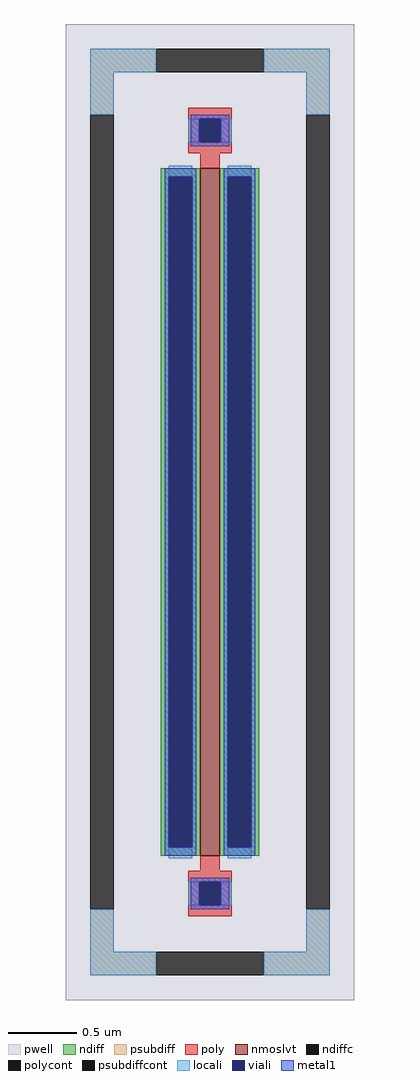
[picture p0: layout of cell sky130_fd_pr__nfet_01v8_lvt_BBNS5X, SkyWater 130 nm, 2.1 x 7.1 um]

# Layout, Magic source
magic
tech sky130A
<< pwell >>
rect -105 -355 105 355
<< nmoslvt >>
rect -7 -250 7 250
<< ndiff >>
rect -36 244 -7 250
rect -36 -244 -30 244
rect -13 -244 -7 244
rect -36 -250 -7 -244
rect 7 244 36 250
rect 7 -244 13 244
rect 30 -244 36 244
rect 7 -250 36 -244
<< ndiffc >>
rect -30 -244 -13 244
rect 13 -244 30 244
<< psubdiff >>
rect -87 320 -39 337
rect 39 320 87 337
rect -87 289 -70 320
rect 70 289 87 320
rect -87 -320 -70 -289
rect 70 -320 87 -289
rect -87 -337 -39 -320
rect 39 -337 87 -320
<< psubdiffcont >>
rect -39 320 39 337
rect -87 -289 -70 289
rect 70 -289 87 289
rect -39 -337 39 -320
<< poly >>
rect -16 286 16 294
rect -16 269 -8 286
rect 8 269 16 286
rect -16 261 16 269
rect -7 250 7 261
rect -7 -261 7 -250
rect -16 -269 16 -261
rect -16 -286 -8 -269
rect 8 -286 16 -269
rect -16 -294 16 -286
<< polycont >>
rect -8 269 8 286
rect -8 -286 8 -269
<< locali >>
rect -87 320 -39 337
rect 39 320 87 337
rect -87 289 -70 320
rect 70 289 87 320
rect -16 269 -8 286
rect 8 269 16 286
rect -30 244 -13 252
rect -30 -252 -13 -244
rect 13 244 30 252
rect 13 -252 30 -244
rect -16 -286 -8 -269
rect 8 -286 16 -269
rect -87 -320 -70 -289
rect 70 -320 87 -289
rect -87 -337 -39 -320
rect 39 -337 87 -320
<< viali >>
rect -8 269 8 286
rect -30 -244 -13 244
rect 13 -244 30 244
rect -8 -286 8 -269
<< metal1 >>
rect -14 286 14 289
rect -14 269 -8 286
rect 8 269 14 286
rect -14 266 14 269
rect -33 244 -10 250
rect -33 -244 -30 244
rect -13 -244 -10 244
rect -33 -250 -10 -244
rect 10 244 33 250
rect 10 -244 13 244
rect 30 -244 33 244
rect 10 -250 33 -244
rect -14 -269 14 -266
rect -14 -286 -8 -269
rect 8 -286 14 -269
rect -14 -289 14 -286
<< properties >>
string FIXED_BBOX -79 -328 79 328
string gencell sky130_fd_pr__nfet_01v8_lvt
string library sky130
string parameters w 5.0 l 0.15 m 1 nf 1 diffcov 100 polycov 100 guard 1 glc 1 grc 1 gtc 1 gbc 1 tbcov 100 rlcov 100 topc 1 botc 1 poverlap 0 doverlap 1 lmin 0.15 wmin 0.42 compatible {sky130_fd_pr__nfet_01v8 sky130_fd_pr__nfet_01v8_lvt  sky130_fd_bs_flash__special_sonosfet_star  sky130_fd_pr__nfet_g5v0d10v5 sky130_fd_pr__nfet_05v0_nvt  sky130_fd_pr__nfet_03v3_nvt} full_metal 1 viasrc 100 viadrn 100 viagate 100 viagb 0 viagr 0 viagl 0 viagt 0
<< end >>
